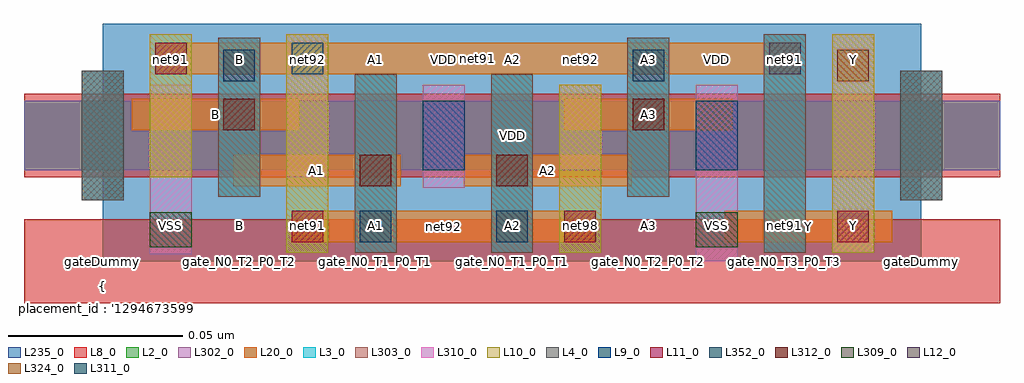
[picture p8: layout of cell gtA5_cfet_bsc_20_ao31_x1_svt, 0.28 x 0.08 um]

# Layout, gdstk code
import gdstk
lib = gdstk.Library(unit=1e-6, precision=2.5e-10)
def R(c, l, rs):  # rectangles x0, y0, x1, y1
    for r in rs: c.add(gdstk.rectangle(r[:2], r[2:], *l))
def A(c, l, x, y, w, h, nx, ny, dx, dy):  # array of equal rectangles
    R(c, l, [(x+i*dx, y+j*dy, x+i*dx+w, y+j*dy+h) for i in range(nx) for j in range(ny)])
L2_0 = (2, 0)
L3_0 = (3, 0)
L4_0 = (4, 0)
L8_0 = (8, 0)
L9_0 = (9, 0)
L10_0 = (10, 0)
L11_0 = (11, 0)
L12_0 = (12, 0)
L20_0 = (20, 0)
L235_0 = (235, 0)
L302_0 = (302, 0)
L303_0 = (303, 0)
L309_0 = (309, 0)
L310_0 = (310, 0)
L311_0 = (311, 0)
L312_0 = (312, 0)
L324_0 = (324, 0)
L352_0 = (352, 0)

gta5_cfet_bsc_20_ao31_x1 = lib.new_cell('gtA5_cfet_bsc_20_ao31_x1_svt')
R(gta5_cfet_bsc_20_ao31_x1, L2_0, [(-0.0225,0.026,0.2565,0.046)])
R(gta5_cfet_bsc_20_ao31_x1, L3_0, [(0.072,0.0025,0.084,0.0535), (0.111,0.0025,0.123,0.0535), (0.189,0.0025,0.201,0.065), (-0.006,0.0175,0.006,0.0545), (0.228,0.0175,0.24,0.0545), (0.033,0.0185,0.045,0.064), (0.15,0.0185,0.162,0.064)])
R(gta5_cfet_bsc_20_ao31_x1, L4_0, [(-0.006,0.0175,0.006,0.0545), (0.228,0.0175,0.24,0.0545)])
R(gta5_cfet_bsc_20_ao31_x1, L8_0, [(-0.0225,-0.012,0.2565,0.012), (-0.0225,0.024,0.2565,0.048)])
R(gta5_cfet_bsc_20_ao31_x1, L9_0, [(0.0915,0.026,0.1035,0.046), (0.1695,0.026,0.1815,0.046)])
R(gta5_cfet_bsc_20_ao31_x1, L10_0, [(0.0525,0.0025,0.0645,0.065), (0.1305,0.0025,0.1425,0.0505), (0.2085,0.0025,0.2205,0.065), (0.0135,0.024,0.0255,0.065)])
A(gta5_cfet_bsc_20_ao31_x1, L11_0, 0.054, 0.0055, 0.009, 0.009, 3, 1, 0.078, 0)
R(gta5_cfet_bsc_20_ao31_x1, L11_0, [(0.015,0.0535,0.024,0.0625)])
R(gta5_cfet_bsc_20_ao31_x1, L12_0, [(0.1905,0.0535,0.1995,0.0625)])
R(gta5_cfet_bsc_20_ao31_x1, L20_0, [(0.054,0.0055,0.141,0.0145), (0.1777,0.0055,0.2258,0.0145), (0.0372,0.0215,0.0853,0.0305), (0.1033,0.0215,0.1512,0.0305), (0.0083,0.0375,0.0563,0.0465), (0.132,0.0375,0.18,0.0465), (0.015,0.0535,0.1995,0.0625)])
R(gta5_cfet_bsc_20_ao31_x1, L235_0, [(0,0,0.234,0.068)])
R(gta5_cfet_bsc_20_ao31_x1, L302_0, [(-0.0225,0.026,0.2565,0.046)])
R(gta5_cfet_bsc_20_ao31_x1, L303_0, [(0.072,0.0025,0.084,0.0535), (0.111,0.0025,0.123,0.0535), (0.189,0.0025,0.201,0.065), (-0.006,0.0175,0.006,0.0545), (0.228,0.0175,0.24,0.0545), (0.033,0.0185,0.045,0.064), (0.15,0.0185,0.162,0.064)])
R(gta5_cfet_bsc_20_ao31_x1, L309_0, [(0.0135,0.004,0.0255,0.014), (0.1695,0.004,0.1815,0.014)])
R(gta5_cfet_bsc_20_ao31_x1, L310_0, [(0.1695,0,0.1815,0.0505), (0.0135,0.002,0.0255,0.0505), (0.2085,0.0025,0.2205,0.065), (0.0915,0.021,0.1035,0.0505), (0.0525,0.024,0.0645,0.065), (0.1305,0.026,0.1425,0.0505)])
R(gta5_cfet_bsc_20_ao31_x1, L311_0, [(0.054,0.0535,0.063,0.0625)])
R(gta5_cfet_bsc_20_ao31_x1, L312_0, [(0.0735,0.0215,0.0825,0.0305), (0.1125,0.0215,0.1215,0.0305), (0.0345,0.0375,0.0435,0.0465), (0.1515,0.0375,0.1605,0.0465)])
R(gta5_cfet_bsc_20_ao31_x1, L324_0, [(0.21,0.0515,0.219,0.0605)])
R(gta5_cfet_bsc_20_ao31_x1, L352_0, [(0.0735,0.0055,0.0825,0.0145), (0.1125,0.0055,0.1215,0.0145), (0.0345,0.0515,0.0435,0.0605), (0.1515,0.0515,0.1605,0.0605)])
gta5_cfet_bsc_20_ao31_x1.add(gdstk.Label('net92', (0.0975,0.01), layer=100, texttype=100))
gta5_cfet_bsc_20_ao31_x1.add(gdstk.Label('net91', (0.1072,0.058), layer=100, texttype=100))
gta5_cfet_bsc_20_ao31_x1.add(gdstk.Label('gateDummy', (0,0), layer=103, texttype=103))
gta5_cfet_bsc_20_ao31_x1.add(gdstk.Label('sd_N0_VSS_P0_T3', (0.0195,0), layer=103, texttype=103))
gta5_cfet_bsc_20_ao31_x1.add(gdstk.Label('gate_N0_T2_P0_T2', (0.039,0), layer=103, texttype=103))
gta5_cfet_bsc_20_ao31_x1.add(gdstk.Label('sd_N0_T3_P0_T0', (0.0585,0), layer=103, texttype=103))
gta5_cfet_bsc_20_ao31_x1.add(gdstk.Label('gate_N0_T1_P0_T1', (0.078,0), layer=103, texttype=103))
gta5_cfet_bsc_20_ao31_x1.add(gdstk.Label('sd_P0_VDD', (0.0975,0), layer=103, texttype=103))
gta5_cfet_bsc_20_ao31_x1.add(gdstk.Label('gate_N0_T1_P0_T1', (0.117,0), layer=103, texttype=103))
gta5_cfet_bsc_20_ao31_x1.add(gdstk.Label('sd_N0_abut_P0_T0', (0.1365,0), layer=103, texttype=103))
gta5_cfet_bsc_20_ao31_x1.add(gdstk.Label('gate_N0_T2_P0_T2', (0.156,0), layer=103, texttype=103))
gta5_cfet_bsc_20_ao31_x1.add(gdstk.Label('sd_N0_VSS_P0_VDD', (0.1755,0), layer=103, texttype=103))
gta5_cfet_bsc_20_ao31_x1.add(gdstk.Label('gate_N0_T3_P0_T3', (0.195,0), layer=103, texttype=103))
gta5_cfet_bsc_20_ao31_x1.add(gdstk.Label('sd_N0_T0_P0_T0', (0.2145,0), layer=103, texttype=103))
gta5_cfet_bsc_20_ao31_x1.add(gdstk.Label('gateDummy', (0.234,0), layer=103, texttype=103))
gta5_cfet_bsc_20_ao31_x1.add(gdstk.Label('}', (0,-0.0742), layer=104, texttype=104))
gta5_cfet_bsc_20_ao31_x1.add(gdstk.Label('  power : None', (0,-0.0675), layer=104, texttype=104))
gta5_cfet_bsc_20_ao31_x1.add(gdstk.Label('  performance : None', (0,-0.0607), layer=104, texttype=104))
gta5_cfet_bsc_20_ao31_x1.add(gdstk.Label("  solution_hash : '17282552661841399434'", (0,-0.054), layer=104, texttype=104))
gta5_cfet_bsc_20_ao31_x1.add(gdstk.Label('  number_m2 : 0', (0,-0.0473), layer=104, texttype=104))
gta5_cfet_bsc_20_ao31_x1.add(gdstk.Label('  number_m1 : 0', (0,-0.0405), layer=104, texttype=104))
gta5_cfet_bsc_20_ao31_x1.add(gdstk.Label('  number_m0cuts : 0', (0,-0.0338), layer=104, texttype=104))
gta5_cfet_bsc_20_ao31_x1.add(gdstk.Label('  number_m0 : 7', (0,-0.027), layer=104, texttype=104))
gta5_cfet_bsc_20_ao31_x1.add(gdstk.Label("  solution_number : '0000'", (0,-0.0203), layer=104, texttype=104))
gta5_cfet_bsc_20_ao31_x1.add(gdstk.Label("  placement_id : '129467359933604485'", (0,-0.0135), layer=104, texttype=104))
gta5_cfet_bsc_20_ao31_x1.add(gdstk.Label('{', (0,-0.0067), layer=104, texttype=104))
gta5_cfet_bsc_20_ao31_x1.add(gdstk.Label('VSS', (0.0195,0.0103), layer=105, texttype=105))
gta5_cfet_bsc_20_ao31_x1.add(gdstk.Label('B', (0.039,0.0103), layer=105, texttype=105))
gta5_cfet_bsc_20_ao31_x1.add(gdstk.Label('net91', (0.0585,0.0103), layer=105, texttype=105))
gta5_cfet_bsc_20_ao31_x1.add(gdstk.Label('A1', (0.078,0.0103), layer=105, texttype=105))
gta5_cfet_bsc_20_ao31_x1.add(gdstk.Label('net97', (0.0975,0.0103), layer=105, texttype=105))
gta5_cfet_bsc_20_ao31_x1.add(gdstk.Label('A2', (0.117,0.0103), layer=105, texttype=105))
gta5_cfet_bsc_20_ao31_x1.add(gdstk.Label('net98', (0.1365,0.0103), layer=105, texttype=105))
gta5_cfet_bsc_20_ao31_x1.add(gdstk.Label('A3', (0.156,0.0103), layer=105, texttype=105))
gta5_cfet_bsc_20_ao31_x1.add(gdstk.Label('VSS', (0.1755,0.0103), layer=105, texttype=105))
gta5_cfet_bsc_20_ao31_x1.add(gdstk.Label('net91', (0.195,0.0103), layer=105, texttype=105))
gta5_cfet_bsc_20_ao31_x1.add(gdstk.Label('Y', (0.2145,0.0103), layer=105, texttype=105))
gta5_cfet_bsc_20_ao31_x1.add(gdstk.Label('net91', (0.0195,0.0578), layer=105, texttype=105))
gta5_cfet_bsc_20_ao31_x1.add(gdstk.Label('B', (0.039,0.0578), layer=105, texttype=105))
gta5_cfet_bsc_20_ao31_x1.add(gdstk.Label('net92', (0.0585,0.0578), layer=105, texttype=105))
gta5_cfet_bsc_20_ao31_x1.add(gdstk.Label('A1', (0.078,0.0578), layer=105, texttype=105))
gta5_cfet_bsc_20_ao31_x1.add(gdstk.Label('VDD', (0.0975,0.0578), layer=105, texttype=105))
gta5_cfet_bsc_20_ao31_x1.add(gdstk.Label('A2', (0.117,0.0578), layer=105, texttype=105))
gta5_cfet_bsc_20_ao31_x1.add(gdstk.Label('net92', (0.1365,0.0578), layer=105, texttype=105))
gta5_cfet_bsc_20_ao31_x1.add(gdstk.Label('A3', (0.156,0.0578), layer=105, texttype=105))
gta5_cfet_bsc_20_ao31_x1.add(gdstk.Label('VDD', (0.1755,0.0578), layer=105, texttype=105))
gta5_cfet_bsc_20_ao31_x1.add(gdstk.Label('net91', (0.195,0.0578), layer=105, texttype=105))
gta5_cfet_bsc_20_ao31_x1.add(gdstk.Label('Y', (0.2145,0.0578), layer=105, texttype=105))
gta5_cfet_bsc_20_ao31_x1.add(gdstk.Label('VSS', (0.117,0), layer=8, texttype=0))
gta5_cfet_bsc_20_ao31_x1.add(gdstk.Label('VDD', (0.117,0.036), layer=8, texttype=0))
gta5_cfet_bsc_20_ao31_x1.add(gdstk.Label('Y', (0.2018,0.01), layer=20, texttype=251))
gta5_cfet_bsc_20_ao31_x1.add(gdstk.Label('A1', (0.0612,0.026), layer=20, texttype=251))
gta5_cfet_bsc_20_ao31_x1.add(gdstk.Label('A2', (0.1273,0.026), layer=20, texttype=251))
gta5_cfet_bsc_20_ao31_x1.add(gdstk.Label('B', (0.0323,0.042), layer=20, texttype=251))
gta5_cfet_bsc_20_ao31_x1.add(gdstk.Label('A3', (0.156,0.042), layer=20, texttype=251))
gta5_cfet_bsc_20_ao31_x1.add(gdstk.Label('gtA5_cfet_bsc_20nm_ao31_x1_rvt_0', (0,0), layer=235, texttype=0))

lib.write_gds('gtA5_cfet_bsc_20_ao31_x1_svt.gds')
